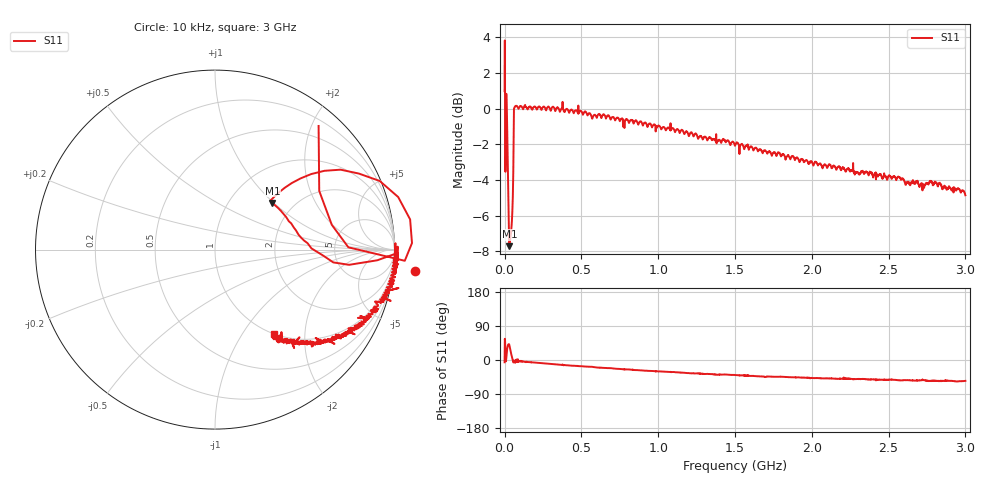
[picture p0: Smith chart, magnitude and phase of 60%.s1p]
# HZ S RI R 50
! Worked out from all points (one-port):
!   2020 points, 10 kHz to 3 GHz, reference 50 ohm
!   lowest |S11| = -7.7 dB at 31.21 MHz (marker M1), VSWR 2.40, Z = 78.4 + j48.9 ohm
!   |S11| at or under -10 dB: nowhere
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10000  1.113 -0.1169
5953516  0.6507 0.138
1.635467e7  0.8013 0.4237
1.784055e7  0.6998 0.4453
1.932643e7  0.6099 0.439
2.378406e7  0.4281 0.371
2.675582e7  0.3576 0.3197
3.121346e7  0.32 0.2591
3.715698e7  0.3832 0.197
4.310049e7  0.4383 0.1242
5.350164e7  0.5667 -0.011
6.39028e7  1.006 -0.0428
7.133219e7  1.016 -0.0175
7.578983e7  1.017 0.0162
3.759374e8  0.9768 -0.2254
7.503789e8  0.8451 -0.369
1.126306e9  0.7376 -0.4715
1.37742e9  0.6656 -0.5253
1.500748e9  0.6068 -0.5033
1.689454e9  0.5439 -0.5334
1.875189e9  0.5135 -0.5277
2.251117e9  0.4307 -0.5086
2.575038e9  0.381 -0.5148
2.625558e9  0.3723 -0.5009
2.726598e9  0.3672 -0.4845
2.771174e9  0.3569 -0.5162
2.94948e9  0.331 -0.4981
3e9  0.3271 -0.4689
